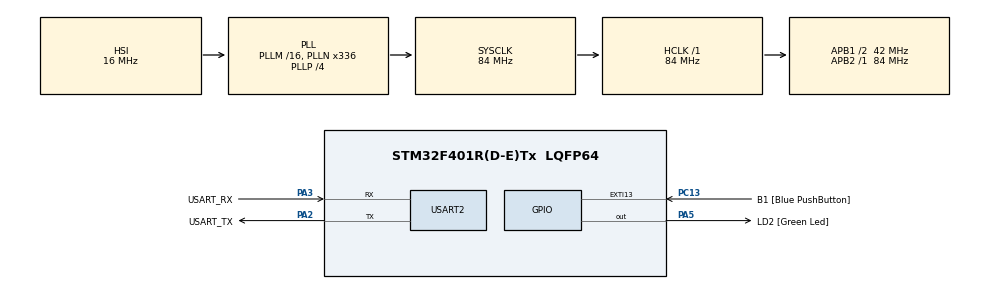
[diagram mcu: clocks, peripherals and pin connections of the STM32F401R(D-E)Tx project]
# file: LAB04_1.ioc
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Mcu.Family=STM32F4
Mcu.Name=STM32F401R(D-E)Tx
Mcu.Package=LQFP64
NVIC.PriorityGroup=NVIC_PRIORITYGROUP_0
NVIC.USART2_IRQn=true\:0\:0\:false\:false\:true\:true\:true
PA13.GPIO_Label=TMS
PA13.Mode=Serial_Wire
PA13.Signal=SYS_JTMS-SWDIO
PA14.GPIO_Label=TCK
PA14.Mode=Serial_Wire
PA14.Signal=SYS_JTCK-SWCLK
PA2.GPIO_Label=USART_TX
PA2.GPIO_Mode=GPIO_MODE_AF_PP
PA2.GPIO_PuPd=GPIO_NOPULL
PA2.GPIO_Speed=GPIO_SPEED_FREQ_LOW
PA2.Mode=Asynchronous
PA2.Signal=USART2_TX
PA3.GPIO_Label=USART_RX
PA3.GPIO_Mode=GPIO_MODE_AF_PP
PA3.GPIO_PuPd=GPIO_NOPULL
PA3.GPIO_Speed=GPIO_SPEED_FREQ_LOW
PA3.Mode=Asynchronous
PA3.Signal=USART2_RX
PA5.GPIO_Label=LD2 [Green Led]
PA5.GPIO_Mode=GPIO_MODE_OUTPUT_PP
PA5.GPIO_PuPd=GPIO_NOPULL
PA5.GPIO_Speed=GPIO_SPEED_FREQ_LOW
PA5.Signal=GPIO_Output
PB3.GPIO_Label=SWO
PB3.Signal=SYS_JTDO-SWO
PC13-ANTI_TAMP.GPIO_Label=B1 [Blue PushButton]
PC13-ANTI_TAMP.GPIO_ModeDefaultEXTI=GPIO_MODE_IT_FALLING
PC13-ANTI_TAMP.GPIO_PuPd=GPIO_NOPULL
PC13-ANTI_TAMP.Signal=GPXTI13
PC14-OSC32_IN.Mode=LSE-External-Oscillator
PC14-OSC32_IN.Signal=RCC_OSC32_IN
PC15-OSC32_OUT.Mode=LSE-External-Oscillator
PC15-OSC32_OUT.Signal=RCC_OSC32_OUT
PH0\ -\ OSC_IN.Mode=HSE-External-Clock-Source
PH0\ -\ OSC_IN.Signal=RCC_OSC_IN
PH1\ -\ OSC_OUT.Mode=HSE-External-Clock-Source
PH1\ -\ OSC_OUT.Signal=RCC_OSC_OUT
ProjectManager.HeapSize=0x200
ProjectManager.StackSize=0x400
ProjectManager.TargetToolchain=STM32CubeIDE
RCC.48MHZClocksFreq_Value=48000000
RCC.AHBFreq_Value=84000000
RCC.APB1CLKDivider=RCC_HCLK_DIV2
RCC.APB1Freq_Value=42000000
RCC.APB1TimFreq_Value=84000000
RCC.APB2Freq_Value=84000000
RCC.APB2TimFreq_Value=84000000
RCC.CortexFreq_Value=84000000
RCC.HCLKFreq_Value=84000000
RCC.HSE_VALUE=8000000
RCC.HSI_VALUE=16000000
RCC.PLLN=336
RCC.PLLP=RCC_PLLP_DIV4
RCC.PLLQ=7
RCC.SYSCLKFreq_VALUE=84000000
RCC.SYSCLKSource=RCC_SYSCLKSOURCE_PLLCLK
RCC.VCOOutputFreq_Value=336000000
USART2.VirtualMode=VM_ASYNC
board=NUCLEO-F401RE

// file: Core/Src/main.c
/* USER CODE BEGIN Header */
/**
  ******************************************************************************
  * @file           : main.c
  * @brief          : Main program body
  ******************************************************************************
  * @attention
  *
  * <h2><center>&copy; Copyright (c) 2023 STMicroelectronics.
  * All rights reserved.</center></h2>
  *
  * This software component is licensed by ST under BSD 3-Clause license,
  * the "License"; You may not use this file except in compliance with the
  * License. You may obtain a copy of the License at:
  *                        opensource.org/licenses/BSD-3-Clause
  *
  ******************************************************************************
  */
/* USER CODE END Header */
#include "main.h"

/* USER CODE BEGIN Includes */
#include <string.h>
#include <stdlib.h>
#include <stdio.h>
/* USER CODE END Includes */

UART_HandleTypeDef huart2;
/* USER CODE BEGIN PV */
// welcome message
char WELCOME_MSG[] = "\r\nHello, user.\r\n";
// menu
char MENU[] = "\r\nPress [1] to toggle the green LED, [2] to return the status of the pushbutton, [3] to print this menu again.\r\n";
// prompt
char PROMPT[] = ">";
// read buffer
char readBuf[1];
// character array where the messages to be transmitted will be written
char msg[30];
// variable to which the user input will be assigned
volatile uint8_t user_choice = 0;
// variable signaling there is a new value in the rx buffer
volatile uint8_t read_buffer_new = 0;
// variable that signals whether data transmission has finished
volatile uint8_t ready_to_tx = 0;
/* USER CODE END PV */

void SystemClock_Config(void);
static void MX_GPIO_Init(void);
static void MX_USART2_UART_Init(void);

int main(void)
{

  /* MCU Configuration--------------------------------------------------------*/

  /* Reset of all peripherals, Initializes the Flash interface and the Systick. */
  HAL_Init();

  /* Configure the system clock */
  SystemClock_Config();

  /* Initialize all configured peripherals */
  MX_GPIO_Init();
  MX_USART2_UART_Init();
  /* USER CODE BEGIN 2 */
  ready_to_tx = 0;
  // transmit the welcome message
  HAL_UART_Transmit_IT(&huart2, (uint8_t*)WELCOME_MSG, strlen(WELCOME_MSG));
  // wait for the transmission to end
  while(ready_to_tx != 1);
  // reset the ready_to_tx variable
  ready_to_tx = 0;
  // transmit the menu
  HAL_UART_Transmit_IT(&huart2, (uint8_t*)MENU, strlen(MENU));
  // wait for transmission to end
  while(ready_to_tx != 1);
  ready_to_tx = 0;
  HAL_UART_Transmit_IT(&huart2, (uint8_t*)PROMPT, strlen(PROMPT));
  while(ready_to_tx != 1);
  /* USER CODE END 2 */

  /* Infinite loop */
  /* USER CODE BEGIN WHILE */
  while (1)
  {
	  // initialize data reception and write received data to readBuf
	  HAL_UART_Receive_IT(&huart2, (uint8_t*)readBuf, 1);
	  // if there is new data in the read buffer
	  if(read_buffer_new == 1) {
		  // convert the character to an integer and assign it to user_choice variable
		  user_choice = atoi(readBuf);
	  }
	  if (user_choice > 0){
		  // based on value of user_choice perform different actions
		  switch(user_choice){
			  case 1:
				  // toggle the pin
				  HAL_GPIO_TogglePin(GPIOA, GPIO_PIN_5);
				  // set read_buffer_new to 0 signaling that there is no unread data
				  read_buffer_new = 0;
				  // reset user_choie so the action will not be performed infinitely
				  user_choice = 0;
				  break;
			  case 2:
				  // format the message with the button status to transmit back to the user
				  sprintf(msg, "\r\nUSER BUTTON STATUS: %s",
						  // use the ReadPin function to get the status of the pin
						  // condition is written with the ternary operator for compactness
						  HAL_GPIO_ReadPin(GPIOC, GPIO_PIN_13) == GPIO_PIN_RESET ? "PRESSED" : "RELEASED");
				  // transmit the formatted message
				  HAL_UART_Transmit_IT(&huart2, (uint8_t*)msg, strlen(msg));
				  read_buffer_new = 0;
				  user_choice = 0;
				  break;
			  case 3:
				  ready_to_tx = 0;
				  // transmit the menu
				  HAL_UART_Transmit_IT(&huart2, (uint8_t*)MENU, strlen(MENU));
				  // wait for end of transmission
				  while(ready_to_tx != 1);
				  // transmit the prompt
				  HAL_UART_Transmit_IT(&huart2, (uint8_t*)PROMPT, strlen(PROMPT));
				  user_choice = 0;
				  read_buffer_new = 0;
				  break;
		  }
	  }
    /* USER CODE END WHILE */
  }
}

void SystemClock_Config(void)
{
  RCC_OscInitTypeDef RCC_OscInitStruct = {0};
  RCC_ClkInitTypeDef RCC_ClkInitStruct = {0};

  /** Configure the main internal regulator output voltage
  */
  __HAL_RCC_PWR_CLK_ENABLE();
  __HAL_PWR_VOLTAGESCALING_CONFIG(PWR_REGULATOR_VOLTAGE_SCALE2);
  /** Initializes the RCC Oscillators according to the specified parameters
  * in the RCC_OscInitTypeDef structure.
  */
  RCC_OscInitStruct.OscillatorType = RCC_OSCILLATORTYPE_HSI;
  RCC_OscInitStruct.HSIState = RCC_HSI_ON;
  RCC_OscInitStruct.HSICalibrationValue = RCC_HSICALIBRATION_DEFAULT;
  RCC_OscInitStruct.PLL.PLLState = RCC_PLL_ON;
  RCC_OscInitStruct.PLL.PLLSource = RCC_PLLSOURCE_HSI;
  RCC_OscInitStruct.PLL.PLLM = 16;
  RCC_OscInitStruct.PLL.PLLN = 336;
  RCC_OscInitStruct.PLL.PLLP = RCC_PLLP_DIV4;
  RCC_OscInitStruct.PLL.PLLQ = 7;
  if (HAL_RCC_OscConfig(&RCC_OscInitStruct) != HAL_OK)
  {
    Error_Handler();
  }
  /** Initializes the CPU, AHB and APB buses clocks
  */
  RCC_ClkInitStruct.ClockType = RCC_CLOCKTYPE_HCLK|RCC_CLOCKTYPE_SYSCLK
                              |RCC_CLOCKTYPE_PCLK1|RCC_CLOCKTYPE_PCLK2;
  RCC_ClkInitStruct.SYSCLKSource = RCC_SYSCLKSOURCE_PLLCLK;
  RCC_ClkInitStruct.AHBCLKDivider = RCC_SYSCLK_DIV1;
  RCC_ClkInitStruct.APB1CLKDivider = RCC_HCLK_DIV2;
  RCC_ClkInitStruct.APB2CLKDivider = RCC_HCLK_DIV1;

  if (HAL_RCC_ClockConfig(&RCC_ClkInitStruct, FLASH_LATENCY_2) != HAL_OK)
  {
    Error_Handler();
  }
}

static void MX_USART2_UART_Init(void)
{

  huart2.Instance = USART2;
  huart2.Init.BaudRate = 115200;
  huart2.Init.WordLength = UART_WORDLENGTH_8B;
  huart2.Init.StopBits = UART_STOPBITS_1;
  huart2.Init.Parity = UART_PARITY_NONE;
  huart2.Init.Mode = UART_MODE_TX_RX;
  huart2.Init.HwFlowCtl = UART_HWCONTROL_NONE;
  huart2.Init.OverSampling = UART_OVERSAMPLING_16;
  if (HAL_UART_Init(&huart2) != HAL_OK)
  {
    Error_Handler();
  }

}

static void MX_GPIO_Init(void)
{
  GPIO_InitTypeDef GPIO_InitStruct = {0};

  /* GPIO Ports Clock Enable */
  __HAL_RCC_GPIOC_CLK_ENABLE();
  __HAL_RCC_GPIOH_CLK_ENABLE();
  __HAL_RCC_GPIOA_CLK_ENABLE();
  __HAL_RCC_GPIOB_CLK_ENABLE();

  /*Configure GPIO pin Output Level */
  HAL_GPIO_WritePin(LD2_GPIO_Port, LD2_Pin, GPIO_PIN_RESET);

  /*Configure GPIO pin : B1_Pin */
  GPIO_InitStruct.Pin = B1_Pin;
  GPIO_InitStruct.Mode = GPIO_MODE_IT_FALLING;
  GPIO_InitStruct.Pull = GPIO_NOPULL;
  HAL_GPIO_Init(B1_GPIO_Port, &GPIO_InitStruct);

  /*Configure GPIO pin : LD2_Pin */
  GPIO_InitStruct.Pin = LD2_Pin;
  GPIO_InitStruct.Mode = GPIO_MODE_OUTPUT_PP;
  GPIO_InitStruct.Pull = GPIO_NOPULL;
  GPIO_InitStruct.Speed = GPIO_SPEED_FREQ_LOW;
  HAL_GPIO_Init(LD2_GPIO_Port, &GPIO_InitStruct);

}

/* USER CODE BEGIN 4 */
void HAL_UART_RxCpltCallback(UART_HandleTypeDef *huart){
	// new data has been written to the received data buffer
	read_buffer_new = 1;
}
void HAL_UART_TxCpltCallback(UART_HandleTypeDef *huart){
	// transfer complete
	ready_to_tx = 1;
}
/* USER CODE END 4 */

void Error_Handler(void)
{
  __disable_irq();
  while (1)
  {
  }
}

/************************ (C) COPYRIGHT STMicroelectronics *****END OF FILE****/
